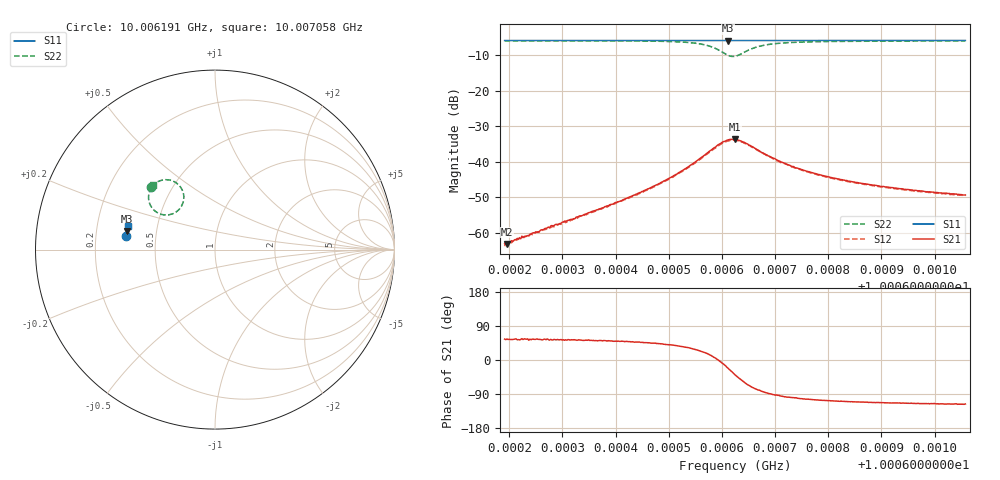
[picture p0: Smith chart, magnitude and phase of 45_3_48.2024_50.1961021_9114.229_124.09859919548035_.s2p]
#  HZ  S  RI  R  50.00
! Rohde & Schwarz Vector Network Analyzer
! Rohde-Schwarz,ZNB20-2Port,1311601062101988,3.16
! Created: UTC 3/20/2024, 11:38:02 AM
! freq[Hz]  re:S11  im:S11  re:S21  im:S21  re:S12  im:S12  re:S22  im:S22
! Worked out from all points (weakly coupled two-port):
!   401 points, 10.006191 GHz to 10.007058 GHz, reference 50 ohm
!   highest |S21| = -33.68 dB at 10.006625 GHz (marker M1); lowest = -63.0 dB at 10.006196 GHz (marker M2)
!   lowest |S11| = -6.0 dB at 10.006612 GHz (marker M3), VSWR 3.00, Z = 16.8 + j4.54 ohm
!   |S11| at or under -10 dB: nowhere
!   |S22| runs from -10.5 to -6.0 dB; largest |S21 - S12| = 0.0014
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1.00061912e10  -0.4963 0.0745  0.000405 0.000582  0.000367 0.000544  -0.3552 0.3509
1.00061955e10  -0.4962 0.0749  0.000399 0.000581  0.000374 0.000575  -0.3548 0.3514
1.00062215e10  -0.4961 0.0767  0.000486 0.000678  0.000463 0.00071  -0.3528 0.3535
1.00063364e10  -0.4949 0.0842  0.00107 0.00138  0.000982 0.00142  -0.3406 0.3643
1.00064123e10  -0.4943 0.0892  0.00187 0.00219  0.00176 0.00223  -0.3277 0.3736
1.00064816e10  -0.4936 0.0938  0.0036 0.00339  0.00341 0.00347  -0.3057 0.3841
1.00065293e10  -0.4927 0.097  0.00649 0.0044  0.00615 0.00459  -0.2739 0.3896
1.0006564e10  -0.4919 0.0994  0.011 0.00432  0.0105 0.00474  -0.2295 0.3797
1.00065878e10  -0.491 0.1007  0.016 0.00145  0.0155 0.00202  -0.1877 0.3415
1.00065986e10  -0.4907 0.1011  0.0183 -0.00187  0.0178 -0.00102  -0.1749 0.3067
1.00066116e10  -0.4901 0.1013  0.0189 -0.00751  0.0187 -0.0062  -0.1812 0.2538
1.00066247e10  -0.4904 0.1017  0.0161 -0.013  0.0163 -0.0116  -0.2173 0.2092
1.0006642e10  -0.4906 0.1022  0.0098 -0.016  0.0102 -0.0151  -0.2841 0.1935
1.00066572e10  -0.4909 0.1031  0.00497 -0.0155  0.00575 -0.0149  -0.3267 0.2093
1.00066745e10  -0.4911 0.1044  0.00178 -0.0134  0.00251 -0.0133  -0.353 0.2351
1.00067092e10  -0.4911 0.1068  -0.000838 -0.0102  -0.000242 -0.00985  -0.3691 0.2759
1.00067352e10  -0.4909 0.1086  -0.00142 -0.00846  -0.00105 -0.00829  -0.3701 0.2953
1.00067699e10  -0.4905 0.111  -0.00176 -0.00681  -0.0014 -0.00676  -0.3679 0.3127
1.00068414e10  -0.4897 0.1157  -0.00184 -0.00499  -0.00157 -0.00497  -0.3611 0.3333
1.00069151e10  -0.4887 0.1206  -0.00174 -0.00404  -0.00151 -0.00404  -0.3544 0.3457
1.00069844e10  -0.4877 0.1248  -0.0016 -0.00345  -0.00142 -0.00348  -0.3491 0.354
1.00070581e10  -0.4866 0.1295  -0.00151 -0.00308  -0.00137 -0.00309  -0.3438 0.3608
